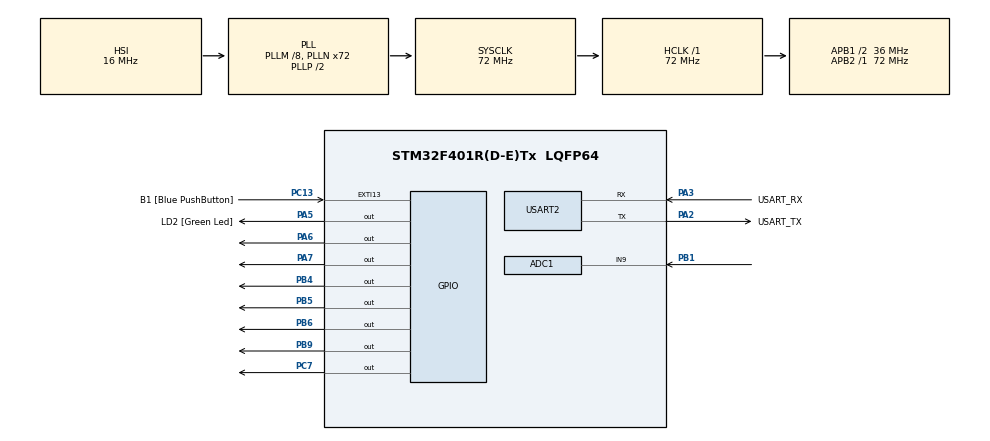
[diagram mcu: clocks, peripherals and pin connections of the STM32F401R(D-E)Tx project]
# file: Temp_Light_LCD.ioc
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ADC1.Channel-0\#ChannelRegularConversion=ADC_CHANNEL_9
ADC1.ContinuousConvMode=ENABLE
ADC1.NbrOfConversionFlag=1
ADC1.Rank-0\#ChannelRegularConversion=1
ADC1.SamplingTime-0\#ChannelRegularConversion=ADC_SAMPLETIME_3CYCLES
ADC1.master=1
Mcu.Family=STM32F4
Mcu.Name=STM32F401R(D-E)Tx
Mcu.Package=LQFP64
NVIC.PriorityGroup=NVIC_PRIORITYGROUP_0
PA13.GPIO_Label=TMS
PA13.Mode=Serial_Wire
PA13.Signal=SYS_JTMS-SWDIO
PA14.GPIO_Label=TCK
PA14.Mode=Serial_Wire
PA14.Signal=SYS_JTCK-SWCLK
PA2.GPIO_Label=USART_TX
PA2.GPIO_Mode=GPIO_MODE_AF_PP
PA2.GPIO_PuPd=GPIO_NOPULL
PA2.GPIO_Speed=GPIO_SPEED_FREQ_LOW
PA2.Mode=Asynchronous
PA2.Signal=USART2_TX
PA3.GPIO_Label=USART_RX
PA3.GPIO_Mode=GPIO_MODE_AF_PP
PA3.GPIO_PuPd=GPIO_NOPULL
PA3.GPIO_Speed=GPIO_SPEED_FREQ_LOW
PA3.Mode=Asynchronous
PA3.Signal=USART2_RX
PA5.GPIO_Label=LD2 [Green Led]
PA5.GPIO_Mode=GPIO_MODE_OUTPUT_PP
PA5.GPIO_PuPd=GPIO_NOPULL
PA5.GPIO_Speed=GPIO_SPEED_FREQ_LOW
PA5.Signal=GPIO_Output
PA6.Signal=GPIO_Output
PA7.Signal=GPIO_Output
PB1.Signal=ADCx_IN9
PB3.GPIO_Label=SWO
PB3.Signal=SYS_JTDO-SWO
PB4.Signal=GPIO_Output
PB5.Signal=GPIO_Output
PB6.Signal=GPIO_Output
PB9.Signal=GPIO_Output
PC13-ANTI_TAMP.GPIO_Label=B1 [Blue PushButton]
PC13-ANTI_TAMP.GPIO_ModeDefaultEXTI=GPIO_MODE_IT_FALLING
PC13-ANTI_TAMP.GPIO_PuPd=GPIO_NOPULL
PC13-ANTI_TAMP.Signal=GPXTI13
PC14-OSC32_IN.Mode=LSE-External-Oscillator
PC14-OSC32_IN.Signal=RCC_OSC32_IN
PC15-OSC32_OUT.Mode=LSE-External-Oscillator
PC15-OSC32_OUT.Signal=RCC_OSC32_OUT
PC7.Signal=GPIO_Output
PH0\ -\ OSC_IN.Mode=HSE-External-Oscillator
PH0\ -\ OSC_IN.Signal=RCC_OSC_IN
PH1\ -\ OSC_OUT.Mode=HSE-External-Oscillator
PH1\ -\ OSC_OUT.Signal=RCC_OSC_OUT
ProjectManager.HeapSize=0x200
ProjectManager.StackSize=0x400
ProjectManager.TargetToolchain=STM32CubeIDE
RCC.48MHZClocksFreq_Value=20571428.57142857
RCC.AHBFreq_Value=72000000
RCC.APB1CLKDivider=RCC_HCLK_DIV2
RCC.APB1Freq_Value=36000000
RCC.APB1TimFreq_Value=72000000
RCC.APB2Freq_Value=72000000
RCC.APB2TimFreq_Value=72000000
RCC.CortexFreq_Value=72000000
RCC.HCLKFreq_Value=72000000
RCC.HSE_VALUE=8000000
RCC.HSI_VALUE=16000000
RCC.PLLM=8
RCC.PLLN=72
RCC.PLLQ=7
RCC.SYSCLKFreq_VALUE=72000000
RCC.SYSCLKSource=RCC_SYSCLKSOURCE_PLLCLK
RCC.VCOOutputFreq_Value=144000000
SH.ADCx_IN9.0=ADC1_IN9,IN9
TIM1.Prescaler=71
USART2.VirtualMode=VM_ASYNC
VP_TIM1_VS_ClockSourceINT.Mode=Internal
board=NUCLEO-F401RE

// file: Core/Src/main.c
/* USER CODE BEGIN Header */
/**
  ******************************************************************************
  * @file           : main.c
  * @brief          : Main program body
  ******************************************************************************
  * @attention
  *
  * Copyright (c) 2022 STMicroelectronics.
  * All rights reserved.
  *
  * This software is licensed under terms that can be found in the LICENSE file
  * in the root directory of this software component.
  * If no LICENSE file comes with this software, it is provided AS-IS.
  *
  ******************************************************************************
  */
/* USER CODE END Header */
#include "main.h"

/* USER CODE BEGIN Includes */
#include "lcd.h"
/* USER CODE END Includes */

ADC_HandleTypeDef hadc1;

TIM_HandleTypeDef htim1;

UART_HandleTypeDef huart2;

void SystemClock_Config(void);
static void MX_GPIO_Init(void);
static void MX_USART2_UART_Init(void);
static void MX_ADC1_Init(void);
static void MX_TIM1_Init(void);

/* USER CODE BEGIN 0 */
#define DHT22_PORT GPIOB
#define DHT22_PIN GPIO_PIN_9
uint8_t RH1, RH2, TC1, TC2, SUM, CHECK;
uint32_t pMillis, cMillis;
float tCelsius = 0;
float tFahrenheit = 0;
float RH = 0;

void microDelay (uint16_t delay)
{
  __HAL_TIM_SET_COUNTER(&htim1, 0);
  while (__HAL_TIM_GET_COUNTER(&htim1) < delay);
}

uint8_t DHT22_Start (void)
{
  uint8_t Response = 0;
  GPIO_InitTypeDef GPIO_InitStructPrivate = {0};
  GPIO_InitStructPrivate.Pin = DHT22_PIN;
  GPIO_InitStructPrivate.Mode = GPIO_MODE_OUTPUT_PP;
  GPIO_InitStructPrivate.Speed = GPIO_SPEED_FREQ_LOW;
  GPIO_InitStructPrivate.Pull = GPIO_NOPULL;
  HAL_GPIO_Init(DHT22_PORT, &GPIO_InitStructPrivate); // set the pin as output
  HAL_GPIO_WritePin (DHT22_PORT, DHT22_PIN, 0);   // pull the pin low
  microDelay (1300);   // wait for 1300us
  HAL_GPIO_WritePin (DHT22_PORT, DHT22_PIN, 1);   // pull the pin high
  microDelay (30);   // wait for 30us
  GPIO_InitStructPrivate.Mode = GPIO_MODE_INPUT;
  GPIO_InitStructPrivate.Pull = GPIO_PULLUP;
  HAL_GPIO_Init(DHT22_PORT, &GPIO_InitStructPrivate); // set the pin as input
  microDelay (40);
  if (!(HAL_GPIO_ReadPin (DHT22_PORT, DHT22_PIN)))
  {
    microDelay (80);
    if ((HAL_GPIO_ReadPin (DHT22_PORT, DHT22_PIN))) Response = 1;
  }
  pMillis = HAL_GetTick();
  cMillis = HAL_GetTick();
  while ((HAL_GPIO_ReadPin (DHT22_PORT, DHT22_PIN)) && pMillis + 2 > cMillis)
  {
    cMillis = HAL_GetTick();
  }
  return Response;
}

uint8_t DHT22_Read (void)
{
  uint8_t a,b;
  for (a=0;a<8;a++)
  {
    pMillis = HAL_GetTick();
    cMillis = HAL_GetTick();
    while (!(HAL_GPIO_ReadPin (DHT22_PORT, DHT22_PIN)) && pMillis + 2 > cMillis)
    {  // wait for the pin to go high
      cMillis = HAL_GetTick();
    }
    microDelay (40);   // wait for 40 us
    if (!(HAL_GPIO_ReadPin (DHT22_PORT, DHT22_PIN)))   // if the pin is low
      b&= ~(1<<(7-a));
    else
      b|= (1<<(7-a));
    pMillis = HAL_GetTick();
    cMillis = HAL_GetTick();
    while ((HAL_GPIO_ReadPin (DHT22_PORT, DHT22_PIN)) && pMillis + 2 > cMillis)
    {  // wait for the pin to go low
      cMillis = HAL_GetTick();
    }
  }
  return b;
}
/* USER CODE END 0 */

int main(void)
{

  /* MCU Configuration--------------------------------------------------------*/

  /* Reset of all peripherals, Initializes the Flash interface and the Systick. */
  HAL_Init();

  /* Configure the system clock */
  SystemClock_Config();

  /* Initialize all configured peripherals */
  MX_GPIO_Init();
  MX_USART2_UART_Init();
  MX_ADC1_Init();
  MX_TIM1_Init();
  /* USER CODE BEGIN 2 */
  uint16_t readValue;
  HAL_ADC_Start(&hadc1);
  HAL_TIM_Base_Start(&htim1);
  // Lcd_PortType ports[] = { D4_GPIO_Port, D5_GPIO_Port, D6_GPIO_Port, D7_GPIO_Port };
    Lcd_PortType ports[] = { GPIOC, GPIOB, GPIOA, GPIOA };
    // Lcd_PinType pins[] = {D4_Pin, D5_Pin, D6_Pin, D7_Pin};
    Lcd_PinType pins[] = {GPIO_PIN_7, GPIO_PIN_6, GPIO_PIN_7, GPIO_PIN_6};
    Lcd_HandleTypeDef lcd;
    // Lcd_create(ports, pins, RS_GPIO_Port, RS_Pin, EN_GPIO_Port, EN_Pin, LCD_4_BIT_MODE);
    lcd = Lcd_create(ports, pins, GPIOB, GPIO_PIN_5, GPIOB, GPIO_PIN_4, LCD_4_BIT_MODE);
  /* USER CODE END 2 */

  /* Infinite loop */
  while (1)
  {
	  if(DHT22_Start())
	  	      {
	  	        RH1 = DHT22_Read(); // First 8bits of humidity
	  	        RH2 = DHT22_Read(); // Second 8bits of Relative humidity
	  	        TC1 = DHT22_Read(); // First 8bits of Celsius
	  	        TC2 = DHT22_Read(); // Second 8bits of Celsius
	  	        SUM = DHT22_Read(); // Check sum
	  	        CHECK = RH1 + RH2 + TC1 + TC2;
	  	        if (CHECK == SUM)
	  	        {
	  	          if (TC1>127) // If TC1=10000000, negative temperature
	  	          {
	  	            tCelsius = (float)TC2/10*(-1);
	  	          }
	  	          else
	  	          {
	  	            tCelsius = (float)((TC1<<8)|TC2)/10;
	  	          }
	  	          tFahrenheit = tCelsius * 9/5 + 32;
	  	          RH = (float) ((RH1<<8)|RH2)/10;
	  	        }
	  	      }
	  	 	  HAL_ADC_Start(&hadc1);
	  	 	  HAL_TIM_Base_Start(&htim1);
	  	  	  HAL_ADC_PollForConversion(&hadc1,1000);
	  	  	  readValue = HAL_ADC_GetValue(&hadc1);

	  	  	  Lcd_cursor(&lcd, 0,1);
	  	  	  Lcd_string(&lcd, "Temp:    ");
	  	  	  Lcd_cursor(&lcd, 0,11);
	  	  	  Lcd_int(&lcd, tCelsius);
	  	  	  Lcd_cursor(&lcd, 1,1);
	  	  	  Lcd_string(&lcd, "Light:   ");
	  	  	  Lcd_cursor(&lcd, 1,11);
	  	  	  Lcd_int(&lcd, readValue);
	  	  	  HAL_Delay (3000);

	  	  	  HAL_ADC_Start(&hadc1);
	  	  	  HAL_TIM_Base_Start(&htim1);
	  		  HAL_ADC_PollForConversion(&hadc1,1000);
	  		  readValue = HAL_ADC_GetValue(&hadc1);

	  	  	  Lcd_cursor(&lcd, 0,1);
	  	  	  Lcd_string(&lcd, "Humidity:");
	  	  	  Lcd_cursor(&lcd, 0,11);
	  	  	  Lcd_int(&lcd, RH);
	  	  	  Lcd_cursor(&lcd, 1,1);
	  	  	  Lcd_string(&lcd, "Light:   ");
	  	  	  Lcd_cursor(&lcd, 1,11);
	  	  	  Lcd_int(&lcd, readValue);
	  	  	  HAL_Delay (3000);
  }
}

void SystemClock_Config(void)
{
  RCC_OscInitTypeDef RCC_OscInitStruct = {0};
  RCC_ClkInitTypeDef RCC_ClkInitStruct = {0};

  /** Configure the main internal regulator output voltage
  */
  __HAL_RCC_PWR_CLK_ENABLE();
  __HAL_PWR_VOLTAGESCALING_CONFIG(PWR_REGULATOR_VOLTAGE_SCALE2);

  /** Initializes the RCC Oscillators according to the specified parameters
  * in the RCC_OscInitTypeDef structure.
  */
  RCC_OscInitStruct.OscillatorType = RCC_OSCILLATORTYPE_HSI;
  RCC_OscInitStruct.HSIState = RCC_HSI_ON;
  RCC_OscInitStruct.HSICalibrationValue = RCC_HSICALIBRATION_DEFAULT;
  RCC_OscInitStruct.PLL.PLLState = RCC_PLL_ON;
  RCC_OscInitStruct.PLL.PLLSource = RCC_PLLSOURCE_HSI;
  RCC_OscInitStruct.PLL.PLLM = 8;
  RCC_OscInitStruct.PLL.PLLN = 72;
  RCC_OscInitStruct.PLL.PLLP = RCC_PLLP_DIV2;
  RCC_OscInitStruct.PLL.PLLQ = 7;
  if (HAL_RCC_OscConfig(&RCC_OscInitStruct) != HAL_OK)
  {
    Error_Handler();
  }

  /** Initializes the CPU, AHB and APB buses clocks
  */
  RCC_ClkInitStruct.ClockType = RCC_CLOCKTYPE_HCLK|RCC_CLOCKTYPE_SYSCLK
                              |RCC_CLOCKTYPE_PCLK1|RCC_CLOCKTYPE_PCLK2;
  RCC_ClkInitStruct.SYSCLKSource = RCC_SYSCLKSOURCE_PLLCLK;
  RCC_ClkInitStruct.AHBCLKDivider = RCC_SYSCLK_DIV1;
  RCC_ClkInitStruct.APB1CLKDivider = RCC_HCLK_DIV2;
  RCC_ClkInitStruct.APB2CLKDivider = RCC_HCLK_DIV1;

  if (HAL_RCC_ClockConfig(&RCC_ClkInitStruct, FLASH_LATENCY_2) != HAL_OK)
  {
    Error_Handler();
  }
}

static void MX_ADC1_Init(void)
{

  ADC_ChannelConfTypeDef sConfig = {0};

  /** Configure the global features of the ADC (Clock, Resolution, Data Alignment and number of conversion)
  */
  hadc1.Instance = ADC1;
  hadc1.Init.ClockPrescaler = ADC_CLOCK_SYNC_PCLK_DIV2;
  hadc1.Init.Resolution = ADC_RESOLUTION_12B;
  hadc1.Init.ScanConvMode = DISABLE;
  hadc1.Init.ContinuousConvMode = ENABLE;
  hadc1.Init.DiscontinuousConvMode = DISABLE;
  hadc1.Init.ExternalTrigConvEdge = ADC_EXTERNALTRIGCONVEDGE_NONE;
  hadc1.Init.ExternalTrigConv = ADC_SOFTWARE_START;
  hadc1.Init.DataAlign = ADC_DATAALIGN_RIGHT;
  hadc1.Init.NbrOfConversion = 1;
  hadc1.Init.DMAContinuousRequests = DISABLE;
  hadc1.Init.EOCSelection = ADC_EOC_SINGLE_CONV;
  if (HAL_ADC_Init(&hadc1) != HAL_OK)
  {
    Error_Handler();
  }

  /** Configure for the selected ADC regular channel its corresponding rank in the sequencer and its sample time.
  */
  sConfig.Channel = ADC_CHANNEL_9;
  sConfig.Rank = 1;
  sConfig.SamplingTime = ADC_SAMPLETIME_3CYCLES;
  if (HAL_ADC_ConfigChannel(&hadc1, &sConfig) != HAL_OK)
  {
    Error_Handler();
  }

}

static void MX_TIM1_Init(void)
{

  TIM_ClockConfigTypeDef sClockSourceConfig = {0};
  TIM_MasterConfigTypeDef sMasterConfig = {0};

  htim1.Instance = TIM1;
  htim1.Init.Prescaler = 71;
  htim1.Init.CounterMode = TIM_COUNTERMODE_UP;
  htim1.Init.Period = 65535;
  htim1.Init.ClockDivision = TIM_CLOCKDIVISION_DIV1;
  htim1.Init.RepetitionCounter = 0;
  htim1.Init.AutoReloadPreload = TIM_AUTORELOAD_PRELOAD_DISABLE;
  if (HAL_TIM_Base_Init(&htim1) != HAL_OK)
  {
    Error_Handler();
  }
  sClockSourceConfig.ClockSource = TIM_CLOCKSOURCE_INTERNAL;
  if (HAL_TIM_ConfigClockSource(&htim1, &sClockSourceConfig) != HAL_OK)
  {
    Error_Handler();
  }
  sMasterConfig.MasterOutputTrigger = TIM_TRGO_RESET;
  sMasterConfig.MasterSlaveMode = TIM_MASTERSLAVEMODE_DISABLE;
  if (HAL_TIMEx_MasterConfigSynchronization(&htim1, &sMasterConfig) != HAL_OK)
  {
    Error_Handler();
  }

}

static void MX_USART2_UART_Init(void)
{

  huart2.Instance = USART2;
  huart2.Init.BaudRate = 115200;
  huart2.Init.WordLength = UART_WORDLENGTH_8B;
  huart2.Init.StopBits = UART_STOPBITS_1;
  huart2.Init.Parity = UART_PARITY_NONE;
  huart2.Init.Mode = UART_MODE_TX_RX;
  huart2.Init.HwFlowCtl = UART_HWCONTROL_NONE;
  huart2.Init.OverSampling = UART_OVERSAMPLING_16;
  if (HAL_UART_Init(&huart2) != HAL_OK)
  {
    Error_Handler();
  }

}

static void MX_GPIO_Init(void)
{
  GPIO_InitTypeDef GPIO_InitStruct = {0};

  /* GPIO Ports Clock Enable */
  __HAL_RCC_GPIOC_CLK_ENABLE();
  __HAL_RCC_GPIOH_CLK_ENABLE();
  __HAL_RCC_GPIOA_CLK_ENABLE();
  __HAL_RCC_GPIOB_CLK_ENABLE();

  /*Configure GPIO pin Output Level */
  HAL_GPIO_WritePin(GPIOA, LD2_Pin|GPIO_PIN_6|GPIO_PIN_7, GPIO_PIN_RESET);

  /*Configure GPIO pin Output Level */
  HAL_GPIO_WritePin(GPIOC, GPIO_PIN_7, GPIO_PIN_RESET);

  /*Configure GPIO pin Output Level */
  HAL_GPIO_WritePin(GPIOB, GPIO_PIN_4|GPIO_PIN_5|GPIO_PIN_6|GPIO_PIN_9, GPIO_PIN_RESET);

  /*Configure GPIO pin : B1_Pin */
  GPIO_InitStruct.Pin = B1_Pin;
  GPIO_InitStruct.Mode = GPIO_MODE_IT_FALLING;
  GPIO_InitStruct.Pull = GPIO_NOPULL;
  HAL_GPIO_Init(B1_GPIO_Port, &GPIO_InitStruct);

  /*Configure GPIO pins : LD2_Pin PA6 PA7 */
  GPIO_InitStruct.Pin = LD2_Pin|GPIO_PIN_6|GPIO_PIN_7;
  GPIO_InitStruct.Mode = GPIO_MODE_OUTPUT_PP;
  GPIO_InitStruct.Pull = GPIO_NOPULL;
  GPIO_InitStruct.Speed = GPIO_SPEED_FREQ_LOW;
  HAL_GPIO_Init(GPIOA, &GPIO_InitStruct);

  /*Configure GPIO pin : PC7 */
  GPIO_InitStruct.Pin = GPIO_PIN_7;
  GPIO_InitStruct.Mode = GPIO_MODE_OUTPUT_PP;
  GPIO_InitStruct.Pull = GPIO_NOPULL;
  GPIO_InitStruct.Speed = GPIO_SPEED_FREQ_LOW;
  HAL_GPIO_Init(GPIOC, &GPIO_InitStruct);

  /*Configure GPIO pins : PB4 PB5 PB6 PB9 */
  GPIO_InitStruct.Pin = GPIO_PIN_4|GPIO_PIN_5|GPIO_PIN_6|GPIO_PIN_9;
  GPIO_InitStruct.Mode = GPIO_MODE_OUTPUT_PP;
  GPIO_InitStruct.Pull = GPIO_NOPULL;
  GPIO_InitStruct.Speed = GPIO_SPEED_FREQ_LOW;
  HAL_GPIO_Init(GPIOB, &GPIO_InitStruct);

}

void Error_Handler(void)
{
  __disable_irq();
  while (1)
  {
  }
}
